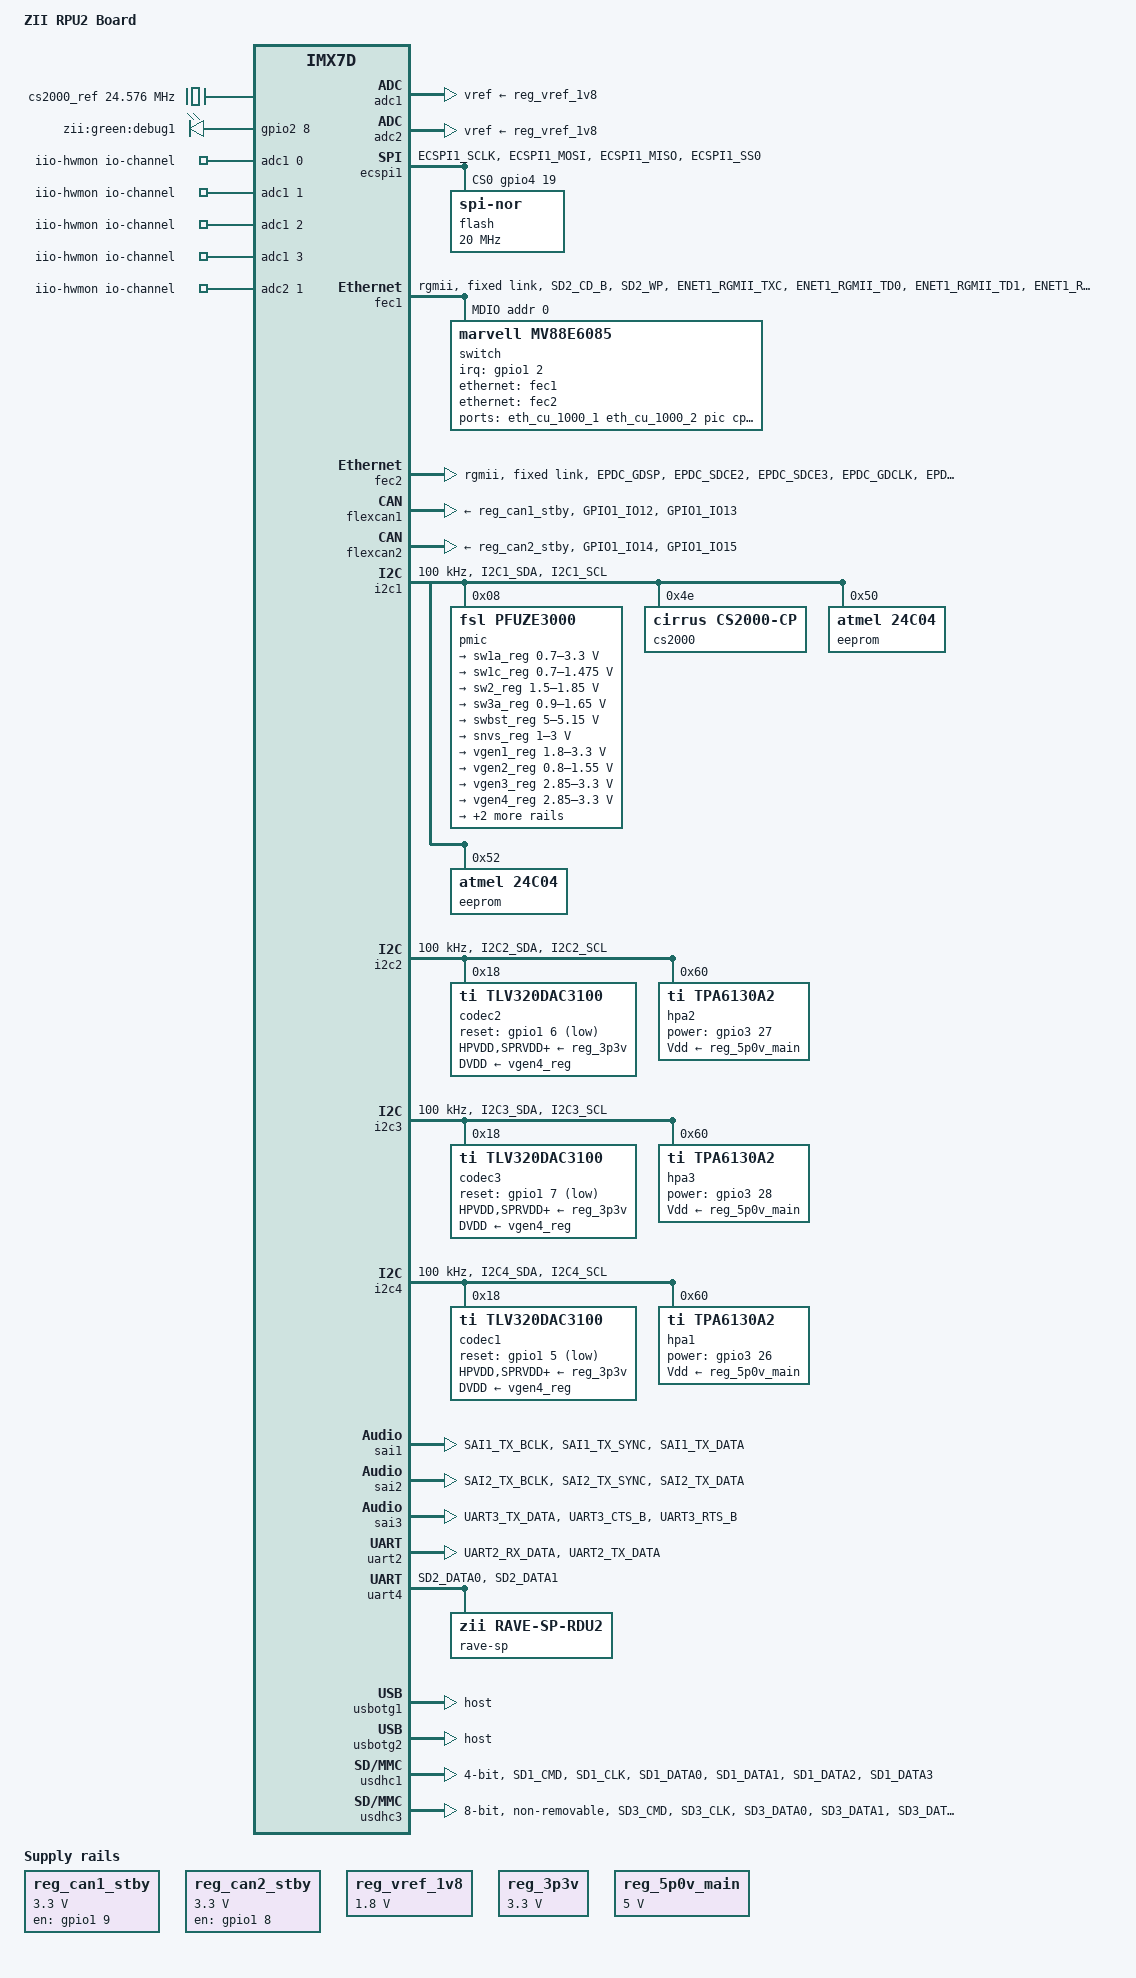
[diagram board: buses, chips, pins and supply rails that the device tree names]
// SPDX-License-Identifier: (GPL-2.0 OR MIT)
/*
 * Device tree file for ZII's RPU2 board
 *
 * RPU - Remote Peripheral Unit
 *
 * Copyright (C) 2019 Zodiac Inflight Innovations
 */

/dts-v1/;
#include <dt-bindings/thermal/thermal.h>
#include "imx7d.dtsi"

/ {
	model = "ZII RPU2 Board";
	compatible = "zii,imx7d-rpu2", "fsl,imx7d";

	chosen {
		stdout-path = &uart1;
	};

	cs2000_ref: oscillator {
		compatible = "fixed-clock";
		#clock-cells = <0>;
		clock-frequency = <24576000>;
	};

	cs2000_in_dummy: dummy-oscillator {
		compatible = "fixed-clock";
		#clock-cells = <0>;
		clock-frequency = <0>;
	};

	gpio-leds {
		compatible = "gpio-leds";
		pinctrl-0 = <&pinctrl_leds_debug>;
		pinctrl-names = "default";

		debug {
			label = "zii:green:debug1";
			gpios = <&gpio2 8 GPIO_ACTIVE_HIGH>;
			linux,default-trigger = "heartbeat";
		};
	};

	iio-hwmon {
		compatible = "iio-hwmon";
		io-channels = <&adc1 0>, <&adc1 1>, <&adc1 2>, <&adc1 3>,
			      <&adc2 1>;
	};

	reg_can1_stby: regulator-can1-stby {
		compatible = "regulator-fixed";
		pinctrl-names = "default";
		pinctrl-0 = <&pinctrl_flexcan1_stby>;
		regulator-name = "can1-3v3";
		regulator-min-microvolt = <3300000>;
		regulator-max-microvolt = <3300000>;
		gpio = <&gpio1 9 GPIO_ACTIVE_HIGH>;
		enable-active-high;
	};

	reg_can2_stby: regulator-can2-stby {
		compatible = "regulator-fixed";
		pinctrl-names = "default";
		pinctrl-0 = <&pinctrl_flexcan2_stby>;
		regulator-name = "can2-3v3";
		regulator-min-microvolt = <3300000>;
		regulator-max-microvolt = <3300000>;
		gpio = <&gpio1 8 GPIO_ACTIVE_HIGH>;
		enable-active-high;
	};

	reg_vref_1v8: regulator-vref-1v8 {
		compatible = "regulator-fixed";
		regulator-name = "vref-1v8";
		regulator-min-microvolt = <1800000>;
		regulator-max-microvolt = <1800000>;
		regulator-always-on;
	};

	reg_3p3v: regulator-3p3v {
		compatible = "regulator-fixed";
		regulator-name = "GEN_3V3";
		regulator-min-microvolt = <3300000>;
		regulator-max-microvolt = <3300000>;
		regulator-always-on;
	};

	reg_5p0v_main: regulator-5p0v-main {
		compatible = "regulator-fixed";
		regulator-name = "5V_MAIN";
		regulator-min-microvolt = <5000000>;
		regulator-max-microvolt = <5000000>;
		regulator-always-on;
	};

	sound1 {
		compatible = "simple-audio-card";
		simple-audio-card,name = "Audio Output 1";
		simple-audio-card,format = "i2s";
		simple-audio-card,bitclock-master = <&sound1_codec>;
		simple-audio-card,frame-master = <&sound1_codec>;
		simple-audio-card,widgets =
			"Headphone", "Headphone Jack";
		simple-audio-card,routing =
			"Headphone Jack", "HPLEFT",
			"Headphone Jack", "HPRIGHT",
			"LEFTIN", "HPL",
			"RIGHTIN", "HPR";
		simple-audio-card,aux-devs = <&hpa1>;

		simple-audio-card,cpu {
			sound-dai = <&sai1>;
		};

		sound1_codec: simple-audio-card,codec {
			sound-dai = <&codec1>;
			clocks = <&cs2000>;
		};
	};

	sound2 {
		compatible = "simple-audio-card";
		simple-audio-card,name = "Audio Output 2";
		simple-audio-card,format = "i2s";
		simple-audio-card,bitclock-master = <&sound2_codec>;
		simple-audio-card,frame-master = <&sound2_codec>;
		simple-audio-card,widgets =
			"Headphone", "Headphone Jack";
		simple-audio-card,routing =
			"Headphone Jack", "HPLEFT",
			"Headphone Jack", "HPRIGHT",
			"LEFTIN", "HPL",
			"RIGHTIN", "HPR";
		simple-audio-card,aux-devs = <&hpa2>;

		simple-audio-card,cpu {
			sound-dai = <&sai2>;
		};

		sound2_codec: simple-audio-card,codec {
			sound-dai = <&codec2>;
			clocks = <&cs2000>;
		};
	};

	sound3 {
		compatible = "simple-audio-card";
		simple-audio-card,name = "Audio Output 3";
		simple-audio-card,format = "i2s";
		simple-audio-card,bitclock-master = <&sound3_codec>;
		simple-audio-card,frame-master = <&sound3_codec>;
		simple-audio-card,widgets =
			"Headphone", "Headphone Jack";
		simple-audio-card,routing =
			"Headphone Jack", "HPLEFT",
			"Headphone Jack", "HPRIGHT",
			"LEFTIN", "HPL",
			"RIGHTIN", "HPR";
		simple-audio-card,aux-devs = <&hpa3>;

		simple-audio-card,cpu {
			sound-dai = <&sai3>;
		};

		sound3_codec: simple-audio-card,codec {
			sound-dai = <&codec3>;
			clocks = <&cs2000>;
		};
	};
};

&adc1 {
	vref-supply = <&reg_vref_1v8>;
	status = "okay";
};

&adc2 {
	vref-supply = <&reg_vref_1v8>;
	status = "okay";
};

&cpu0 {
	arm-supply = <&sw1a_reg>;
};

&clks {
	assigned-clocks = <&clks IMX7D_PLL_AUDIO_POST_DIV>;
	assigned-clock-rates = <884736000>;
};

&ecspi1 {
	pinctrl-names = "default";
	pinctrl-0 = <&pinctrl_ecspi1>;
	cs-gpios = <&gpio4 19 GPIO_ACTIVE_HIGH>;
	status = "okay";

	flash@0 {
		compatible = "jedec,spi-nor";
		spi-max-frequency = <20000000>;
		reg = <0>;
		#address-cells = <1>;
		#size-cells = <1>;
	};
};

&fec1 {
	pinctrl-names = "default";
	pinctrl-0 = <&pinctrl_enet1>;
	assigned-clocks = <&clks IMX7D_ENET1_TIME_ROOT_SRC>,
			  <&clks IMX7D_ENET1_TIME_ROOT_CLK>;
	assigned-clock-parents = <&clks IMX7D_PLL_ENET_MAIN_100M_CLK>;
	assigned-clock-rates = <0>, <100000000>;
	phy-mode = "rgmii";
	status = "okay";

	fixed-link {
		speed = <1000>;
		full-duplex;
	};

	mdio1: mdio {
		#address-cells = <1>;
		#size-cells = <0>;
		status = "okay";

		switch: switch@0 {
			compatible = "marvell,mv88e6085";
			pinctrl-names = "default";
			pinctrl-0 = <&pinctrl_switch>;
			reg = <0>;
			eeprom-length = <512>;
			interrupt-parent = <&gpio1>;
			interrupts = <2 IRQ_TYPE_LEVEL_LOW>;
			interrupt-controller;
			#interrupt-cells = <2>;

			ports {
				#address-cells = <1>;
				#size-cells = <0>;

				port@0 {
					reg = <0>;
					label = "eth_cu_1000_1";
				};

				port@1 {
					reg = <1>;
					label = "eth_cu_1000_2";
				};

				port@2 {
					reg = <2>;
					label = "pic";

					fixed-link {
						speed = <100>;
						full-duplex;
					};
				};

				port@5 {
					reg = <5>;
					label = "cpu";
					ethernet = <&fec1>;
					phy-mode = "rgmii-id";

					fixed-link {
						speed = <1000>;
						full-duplex;
					};
				};

				port@6 {
					reg = <6>;
					label = "gigabit_proc";
					ethernet = <&fec2>;
					phy-mode = "rgmii-id";

					fixed-link {
						speed = <1000>;
						full-duplex;
					};
				};
			};
		};
	};
};

&fec2 {
	pinctrl-names = "default";
	pinctrl-0 = <&pinctrl_enet2>;
	assigned-clocks = <&clks IMX7D_ENET2_TIME_ROOT_SRC>,
			  <&clks IMX7D_ENET2_TIME_ROOT_CLK>;
	assigned-clock-parents = <&clks IMX7D_PLL_ENET_MAIN_100M_CLK>;
	assigned-clock-rates = <0>, <100000000>;
	phy-mode = "rgmii";
	fsl,magic-packet;
	status = "okay";

	fixed-link {
		speed = <1000>;
		full-duplex;
	};
};

&flexcan1 {
	pinctrl-names = "default";
	pinctrl-0 = <&pinctrl_flexcan1>;
	xceiver-supply = <&reg_can1_stby>;
	status = "okay";
};

&flexcan2 {
	pinctrl-names = "default";
	pinctrl-0 = <&pinctrl_flexcan2>;
	xceiver-supply = <&reg_can2_stby>;
	status = "okay";
};

&gpio1 {
	pinctrl-names = "default";
	pinctrl-0 = <&pinctrl_gpio1>;

	gpio-line-names = "", "", "", "", "", "", "", "",
			  "", "",
			  "usb_1_en_b",
			  "usb_2_en_b",
			  "", "", "", "", "", "", "", "",
			  "", "", "", "", "", "", "", "",
			  "", "", "", "";
};

&gpio2 {
	pinctrl-names = "default";
	pinctrl-0 = <&pinctrl_gpio2>;

	gpio-line-names = "12v_out_en_1",
			  "12v_out_en_2",
			  "12v_out_en_3",
			  "28v_out_en_5",
			  "28v_out_en_1",
			  "28v_out_en_2",
			  "28v_out_en_3",
			  "28v_out_en_4",
			  "", "",
			  "usb_3_en_b",
			  "usb_4_en_b",
			  "", "", "", "", "", "", "", "",
			  "", "", "", "", "", "", "", "",
			  "", "", "", "";
};

&i2c1 {
	clock-frequency = <100000>;
	pinctrl-names = "default";
	pinctrl-0 = <&pinctrl_i2c1>;
	status = "okay";

	pmic: pmic@8 {
		compatible = "fsl,pfuze3000";
		reg = <0x08>;

		regulators {
			sw1a_reg: sw1a {
				regulator-min-microvolt = <700000>;
				regulator-max-microvolt = <3300000>;
				regulator-boot-on;
				regulator-always-on;
				regulator-ramp-delay = <6250>;
			};

			sw1c_reg: sw1b {
				regulator-min-microvolt = <700000>;
				regulator-max-microvolt = <1475000>;
				regulator-boot-on;
				regulator-always-on;
				regulator-ramp-delay = <6250>;
			};

			sw2_reg: sw2 {
				regulator-min-microvolt = <1500000>;
				regulator-max-microvolt = <1850000>;
				regulator-boot-on;
				regulator-always-on;
			};

			sw3a_reg: sw3 {
				regulator-min-microvolt = <900000>;
				regulator-max-microvolt = <1650000>;
				regulator-boot-on;
				regulator-always-on;
			};

			swbst_reg: swbst {
				regulator-min-microvolt = <5000000>;
				regulator-max-microvolt = <5150000>;
			};

			snvs_reg: vsnvs {
				regulator-min-microvolt = <1000000>;
				regulator-max-microvolt = <3000000>;
				regulator-boot-on;
				regulator-always-on;
			};

			vref_reg: vrefddr {
				regulator-boot-on;
				regulator-always-on;
			};

			vgen1_reg: vldo1 {
				regulator-min-microvolt = <1800000>;
				regulator-max-microvolt = <3300000>;
				regulator-always-on;
			};

			vgen2_reg: vldo2 {
				regulator-min-microvolt = <800000>;
				regulator-max-microvolt = <1550000>;
				regulator-always-on;
			};

			vgen3_reg: vccsd {
				regulator-min-microvolt = <2850000>;
				regulator-max-microvolt = <3300000>;
				regulator-always-on;
			};

			vgen4_reg: v33 {
				regulator-min-microvolt = <2850000>;
				regulator-max-microvolt = <3300000>;
				regulator-always-on;
			};

			vgen5_reg: vldo3 {
				regulator-min-microvolt = <1800000>;
				regulator-max-microvolt = <3300000>;
				regulator-always-on;
			};

			vgen6_reg: vldo4 {
				regulator-min-microvolt = <1800000>;
				regulator-max-microvolt = <3300000>;
				regulator-always-on;
			};
		};
	};

	cs2000: clkgen@4e {
		compatible = "cirrus,cs2000-cp";
		reg = <0x4e>;
		#clock-cells = <0>;
		clock-names = "clk_in", "ref_clk";
		clocks = <&cs2000_in_dummy>, <&cs2000_ref>;
		assigned-clocks = <&cs2000>;
		assigned-clock-rates = <24000000>;
	};

	eeprom@50 {
		compatible = "atmel,24c04";
		reg = <0x50>;
	};

	eeprom@52 {
		compatible = "atmel,24c04";
		reg = <0x52>;
	};
};

&i2c2 {
	clock-frequency = <100000>;
	pinctrl-names = "default";
	pinctrl-0 = <&pinctrl_i2c2>;
	status = "okay";

	codec2: codec@18 {
		compatible = "ti,tlv320dac3100";
		pinctrl-names = "default";
		pinctrl-0 = <&pinctrl_codec2>;
		reg = <0x18>;
		#sound-dai-cells = <0>;
		HPVDD-supply = <&reg_3p3v>;
		SPRVDD-supply = <&reg_3p3v>;
		SPLVDD-supply = <&reg_3p3v>;
		AVDD-supply = <&reg_3p3v>;
		IOVDD-supply = <&reg_3p3v>;
		DVDD-supply = <&vgen4_reg>;
		gpio-reset = <&gpio1 6 GPIO_ACTIVE_LOW>;
	};

	hpa2: amp@60 {
		compatible = "ti,tpa6130a2";
		pinctrl-names = "default";
		pinctrl-0 = <&pinctrl_tpa2>;
		reg = <0x60>;
		power-gpio = <&gpio3 27 GPIO_ACTIVE_HIGH>;
		Vdd-supply = <&reg_5p0v_main>;
	};
};

&i2c3 {
	clock-frequency = <100000>;
	pinctrl-names = "default";
	pinctrl-0 = <&pinctrl_i2c3>;
	status = "okay";

	codec3: codec@18 {
		compatible = "ti,tlv320dac3100";
		pinctrl-names = "default";
		pinctrl-0 = <&pinctrl_codec3>;
		reg = <0x18>;
		#sound-dai-cells = <0>;
		HPVDD-supply = <&reg_3p3v>;
		SPRVDD-supply = <&reg_3p3v>;
		SPLVDD-supply = <&reg_3p3v>;
		AVDD-supply = <&reg_3p3v>;
		IOVDD-supply = <&reg_3p3v>;
		DVDD-supply = <&vgen4_reg>;
		gpio-reset = <&gpio1 7 GPIO_ACTIVE_LOW>;
	};

	hpa3: amp@60 {
		compatible = "ti,tpa6130a2";
		pinctrl-names = "default";
		pinctrl-0 = <&pinctrl_tpa3>;
		reg = <0x60>;
		power-gpio = <&gpio3 28 GPIO_ACTIVE_HIGH>;
		Vdd-supply = <&reg_5p0v_main>;
	};
};

&i2c4 {
	clock-frequency = <100000>;
	pinctrl-names = "default";
	pinctrl-0 = <&pinctrl_i2c4>;
	status = "okay";

	codec1: codec@18 {
		compatible = "ti,tlv320dac3100";
		pinctrl-names = "default";
		pinctrl-0 = <&pinctrl_codec1>;
		reg = <0x18>;
		#sound-dai-cells = <0>;
		HPVDD-supply = <&reg_3p3v>;
		SPRVDD-supply = <&reg_3p3v>;
		SPLVDD-supply = <&reg_3p3v>;
		AVDD-supply = <&reg_3p3v>;
		IOVDD-supply = <&reg_3p3v>;
		DVDD-supply = <&vgen4_reg>;
		gpio-reset = <&gpio1 5 GPIO_ACTIVE_LOW>;
	};

	hpa1: amp@60 {
		compatible = "ti,tpa6130a2";
		pinctrl-names = "default";
		pinctrl-0 = <&pinctrl_tpa1>;
		reg = <0x60>;
		power-gpio = <&gpio3 26 GPIO_ACTIVE_HIGH>;
		Vdd-supply = <&reg_5p0v_main>;
	};
};

&sai1 {
	pinctrl-names = "default";
	pinctrl-0 = <&pinctrl_sai1>;
	assigned-clocks = <&clks IMX7D_SAI1_ROOT_SRC>,
			  <&clks IMX7D_SAI1_ROOT_CLK>;
	assigned-clock-parents = <&clks IMX7D_PLL_AUDIO_POST_DIV>;
	assigned-clock-rates = <0>, <36864000>;
	status = "okay";
};

&sai2 {
	pinctrl-names = "default";
	pinctrl-0 = <&pinctrl_sai2>;
	assigned-clocks = <&clks IMX7D_SAI2_ROOT_SRC>,
			  <&clks IMX7D_SAI2_ROOT_CLK>;
	assigned-clock-parents = <&clks IMX7D_PLL_AUDIO_POST_DIV>;
	assigned-clock-rates = <0>, <36864000>;
	status = "okay";
};

&sai3 {
	pinctrl-names = "default";
	pinctrl-0 = <&pinctrl_sai3>;
	assigned-clocks = <&clks IMX7D_SAI3_ROOT_SRC>,
			  <&clks IMX7D_SAI3_ROOT_CLK>;
	assigned-clock-parents = <&clks IMX7D_PLL_AUDIO_POST_DIV>;
	assigned-clock-rates = <0>, <36864000>;
	status = "okay";
};

&uart2 {
	pinctrl-names = "default";
	pinctrl-0 = <&pinctrl_uart2>;
	assigned-clocks = <&clks IMX7D_UART2_ROOT_SRC>;
	assigned-clock-parents = <&clks IMX7D_OSC_24M_CLK>;
	status = "okay";
};

&uart4 {
	pinctrl-names = "default";
	pinctrl-0 = <&pinctrl_uart4>;
	assigned-clocks = <&clks IMX7D_UART4_ROOT_SRC>;
	assigned-clock-parents = <&clks IMX7D_PLL_SYS_MAIN_240M_CLK>;
	status = "okay";

	rave-sp {
		compatible = "zii,rave-sp-rdu2";
		current-speed = <1000000>;
		#address-cells = <1>;
		#size-cells = <1>;

		watchdog {
			compatible = "zii,rave-sp-watchdog";
		};

		eeprom@a3 {
			compatible = "zii,rave-sp-eeprom";
			reg = <0xa3 0x4000>;
			#address-cells = <1>;
			#size-cells = <1>;
			zii,eeprom-name = "main-eeprom";
		};
	};
};

&usbotg1 {
	dr_mode = "host";
	disable-over-current;
	status = "okay";
};

&usbotg2 {
	dr_mode = "host";
	disable-over-current;
	status = "okay";
};

&usdhc1 {
	pinctrl-names = "default";
	pinctrl-0 = <&pinctrl_usdhc1>;
	bus-width = <4>;
	no-1-8-v;
	no-sdio;
	keep-power-in-suspend;
	status = "okay";
};

&usdhc3 {
	pinctrl-names = "default";
	pinctrl-0 = <&pinctrl_usdhc3>;
	bus-width = <8>;
	no-1-8-v;
	non-removable;
	no-sdio;
	no-sd;
	keep-power-in-suspend;
	status = "okay";
};

&wdog1 {
	status = "disabled";
};

&snvs_rtc {
	status = "disabled";
};

&snvs_pwrkey {
	status = "disabled";
};

&iomuxc {
	pinctrl_ecspi1: ecspi1grp {
		fsl,pins = <
			MX7D_PAD_ECSPI1_SCLK__ECSPI1_SCLK	0x2
			MX7D_PAD_ECSPI1_MOSI__ECSPI1_MOSI	0x2
			MX7D_PAD_ECSPI1_MISO__ECSPI1_MISO	0x2
			MX7D_PAD_ECSPI1_SS0__GPIO4_IO19         0x59
		>;
	};

	pinctrl_enet1: enet1grp {
		fsl,pins = <
			MX7D_PAD_SD2_CD_B__ENET1_MDIO				0x3
			MX7D_PAD_SD2_WP__ENET1_MDC				0x3
			MX7D_PAD_ENET1_RGMII_TXC__ENET1_RGMII_TXC		0x1
			MX7D_PAD_ENET1_RGMII_TD0__ENET1_RGMII_TD0		0x1
			MX7D_PAD_ENET1_RGMII_TD1__ENET1_RGMII_TD1		0x1
			MX7D_PAD_ENET1_RGMII_TD2__ENET1_RGMII_TD2		0x1
			MX7D_PAD_ENET1_RGMII_TD3__ENET1_RGMII_TD3		0x1
			MX7D_PAD_ENET1_RGMII_TX_CTL__ENET1_RGMII_TX_CTL		0x1
			MX7D_PAD_ENET1_RGMII_RXC__ENET1_RGMII_RXC		0x1
			MX7D_PAD_ENET1_RGMII_RD0__ENET1_RGMII_RD0		0x1
			MX7D_PAD_ENET1_RGMII_RD1__ENET1_RGMII_RD1		0x1
			MX7D_PAD_ENET1_RGMII_RD2__ENET1_RGMII_RD2		0x1
			MX7D_PAD_ENET1_RGMII_RD3__ENET1_RGMII_RD3		0x1
			MX7D_PAD_ENET1_RGMII_RX_CTL__ENET1_RGMII_RX_CTL		0x1
		>;
	};

	pinctrl_enet2: enet2grp {
		fsl,pins = <
			MX7D_PAD_EPDC_GDSP__ENET2_RGMII_TXC			0x1
			MX7D_PAD_EPDC_SDCE2__ENET2_RGMII_TD0			0x1
			MX7D_PAD_EPDC_SDCE3__ENET2_RGMII_TD1			0x1
			MX7D_PAD_EPDC_GDCLK__ENET2_RGMII_TD2			0x1
			MX7D_PAD_EPDC_GDOE__ENET2_RGMII_TD3			0x1
			MX7D_PAD_EPDC_GDRL__ENET2_RGMII_TX_CTL			0x1
			MX7D_PAD_EPDC_SDCE1__ENET2_RGMII_RXC			0x1
			MX7D_PAD_EPDC_SDCLK__ENET2_RGMII_RD0			0x1
			MX7D_PAD_EPDC_SDLE__ENET2_RGMII_RD1			0x1
			MX7D_PAD_EPDC_SDOE__ENET2_RGMII_RD2			0x1
			MX7D_PAD_EPDC_SDSHR__ENET2_RGMII_RD3			0x1
			MX7D_PAD_EPDC_SDCE0__ENET2_RGMII_RX_CTL			0x1
			MX7D_PAD_UART1_TX_DATA__ENET2_1588_EVENT0_OUT		0x1
		>;
	};

	pinctrl_flexcan1: flexcan1grp {
		fsl,pins = <
			MX7D_PAD_GPIO1_IO12__FLEXCAN1_RX	0x59
			MX7D_PAD_GPIO1_IO13__FLEXCAN1_TX	0x59
		>;
	};

	pinctrl_flexcan1_stby: flexcan1stbygrp {
		fsl,pins = <
			MX7D_PAD_GPIO1_IO08__GPIO1_IO8		0x59
		>;
	};

	pinctrl_flexcan2: flexcan2grp {
		fsl,pins = <
			MX7D_PAD_GPIO1_IO14__FLEXCAN2_RX	0x59
			MX7D_PAD_GPIO1_IO15__FLEXCAN2_TX	0x59
		>;
	};

	pinctrl_flexcan2_stby: flexcan2stbygrp {
		fsl,pins = <
			MX7D_PAD_GPIO1_IO09__GPIO1_IO9		0x59
		>;
	};

	pinctrl_gpio1: gpio1grp {
		fsl,pins = <
			MX7D_PAD_GPIO1_IO10__GPIO1_IO10		0x00
			MX7D_PAD_GPIO1_IO11__GPIO1_IO11		0x00
		>;
	};

	pinctrl_gpio2: gpio2grp {
		fsl,pins = <
			MX7D_PAD_EPDC_DATA00__GPIO2_IO0		0x00
			MX7D_PAD_EPDC_DATA01__GPIO2_IO1		0x00
			MX7D_PAD_EPDC_DATA02__GPIO2_IO2		0x00
			MX7D_PAD_EPDC_DATA03__GPIO2_IO3		0x03
			MX7D_PAD_EPDC_DATA04__GPIO2_IO4		0x03
			MX7D_PAD_EPDC_DATA05__GPIO2_IO5		0x03
			MX7D_PAD_EPDC_DATA06__GPIO2_IO6		0x03
			MX7D_PAD_EPDC_DATA07__GPIO2_IO7		0x03
			MX7D_PAD_EPDC_DATA10__GPIO2_IO10	0x00
			MX7D_PAD_EPDC_DATA11__GPIO2_IO11	0x00
		>;
	};

	pinctrl_i2c1: i2c1grp {
		fsl,pins = <
			MX7D_PAD_I2C1_SDA__I2C1_SDA		0x4000007f
			MX7D_PAD_I2C1_SCL__I2C1_SCL		0x4000007f
		>;
	};

	pinctrl_i2c1_gpio: i2c1gpiogrp {
		fsl,pins = <
			MX7D_PAD_I2C1_SDA__GPIO4_IO9		0x4000007f
			MX7D_PAD_I2C1_SCL__GPIO4_IO8		0x4000007f
		>;
	};

	pinctrl_i2c2: i2c2grp {
		fsl,pins = <
			MX7D_PAD_I2C2_SDA__I2C2_SDA		0x4000007f
			MX7D_PAD_I2C2_SCL__I2C2_SCL		0x4000007f
		>;
	};

	pinctrl_i2c2_gpio: i2c2gpiogrp {
		fsl,pins = <
			MX7D_PAD_I2C2_SDA__GPIO4_IO11		0x4000007f
			MX7D_PAD_I2C2_SCL__GPIO4_IO10		0x4000007f
		>;
	};

	pinctrl_i2c3: i2c3grp {
		fsl,pins = <
			MX7D_PAD_I2C3_SDA__I2C3_SDA		0x4000007f
			MX7D_PAD_I2C3_SCL__I2C3_SCL		0x4000007f
		>;
	};

	pinctrl_i2c3_gpio: i2c3gpiogrp {
		fsl,pins = <
			MX7D_PAD_I2C3_SDA__GPIO4_IO13		0x4000007f
			MX7D_PAD_I2C3_SCL__GPIO4_IO12		0x4000007f
		>;
	};

	pinctrl_i2c4: i2c4grp {
		fsl,pins = <
			MX7D_PAD_I2C4_SDA__I2C4_SDA		0x4000007f
			MX7D_PAD_I2C4_SCL__I2C4_SCL		0x4000007f
		>;
	};

	pinctrl_i2c4_gpio: i2c4gpiogrp {
		fsl,pins = <
			MX7D_PAD_SAI1_RX_BCLK__GPIO6_IO17	0x4000007f
			MX7D_PAD_SAI1_RX_SYNC__GPIO6_IO16	0x4000007f
		>;
	};

	pinctrl_leds_debug: debuggrp {
		fsl,pins = <
			MX7D_PAD_EPDC_DATA08__GPIO2_IO8		0x59
		>;
	};

	pinctrl_sai1: sai1grp {
		fsl,pins = <
			MX7D_PAD_SAI1_TX_BCLK__SAI1_TX_BCLK	0x1f
			MX7D_PAD_SAI1_TX_SYNC__SAI1_TX_SYNC	0x1f
			MX7D_PAD_SAI1_TX_DATA__SAI1_TX_DATA0	0x30
		>;
	};

	pinctrl_sai2: sai2grp {
		fsl,pins = <
			MX7D_PAD_SAI2_TX_BCLK__SAI2_TX_BCLK	0x1f
			MX7D_PAD_SAI2_TX_SYNC__SAI2_TX_SYNC	0x1f
			MX7D_PAD_SAI2_TX_DATA__SAI2_TX_DATA0	0x30
		>;
	};

	pinctrl_sai3: sai3grp {
		fsl,pins = <
			MX7D_PAD_UART3_TX_DATA__SAI3_TX_BCLK	0x1f
			MX7D_PAD_UART3_CTS_B__SAI3_TX_SYNC	0x1f
			MX7D_PAD_UART3_RTS_B__SAI3_TX_DATA0	0x30
		>;
	};

	pinctrl_tpa1: tpa6130-1grp {
		fsl,pins = <
			MX7D_PAD_LCD_DATA21__GPIO3_IO26		0x40000038
		>;
	};

	pinctrl_tpa2: tpa6130-2grp {
		fsl,pins = <
			MX7D_PAD_LCD_DATA22__GPIO3_IO27		0x40000038
		>;
	};

	pinctrl_tpa3: tpa6130-3grp {
		fsl,pins = <
			MX7D_PAD_LCD_DATA23__GPIO3_IO28		0x40000038
		>;
	};

	pinctrl_uart2: uart2grp {
		fsl,pins = <
			MX7D_PAD_UART2_RX_DATA__UART2_DCE_RX	0x79
			MX7D_PAD_UART2_TX_DATA__UART2_DCE_TX	0x79
		>;
	};

	pinctrl_uart4: uart4grp {
		fsl,pins = <
			MX7D_PAD_SD2_DATA0__UART4_DCE_RX	0x79
			MX7D_PAD_SD2_DATA1__UART4_DCE_TX	0x79
		>;
	};

	pinctrl_usdhc1: usdhc1grp {
		fsl,pins = <
			MX7D_PAD_SD1_CMD__SD1_CMD		0x59
			MX7D_PAD_SD1_CLK__SD1_CLK		0x19
			MX7D_PAD_SD1_DATA0__SD1_DATA0		0x59
			MX7D_PAD_SD1_DATA1__SD1_DATA1		0x59
			MX7D_PAD_SD1_DATA2__SD1_DATA2		0x59
			MX7D_PAD_SD1_DATA3__SD1_DATA3		0x59
		>;
	};

	pinctrl_usdhc3: usdhc3grp {
		fsl,pins = <
			MX7D_PAD_SD3_CMD__SD3_CMD		0x59
			MX7D_PAD_SD3_CLK__SD3_CLK		0x19
			MX7D_PAD_SD3_DATA0__SD3_DATA0		0x59
			MX7D_PAD_SD3_DATA1__SD3_DATA1		0x59
			MX7D_PAD_SD3_DATA2__SD3_DATA2		0x59
			MX7D_PAD_SD3_DATA3__SD3_DATA3		0x59
			MX7D_PAD_SD3_DATA4__SD3_DATA4		0x59
			MX7D_PAD_SD3_DATA5__SD3_DATA5		0x59
			MX7D_PAD_SD3_DATA6__SD3_DATA6		0x59
			MX7D_PAD_SD3_DATA7__SD3_DATA7		0x59
			MX7D_PAD_SD3_RESET_B__SD3_RESET_B	0x59
		>;
	};
};

&iomuxc_lpsr {
	pinctrl_codec1: dac1grp {
		fsl,pins = <
			MX7D_PAD_LPSR_GPIO1_IO05__GPIO1_IO5	0x40000038
		>;
	};

	pinctrl_codec2: dac2grp {
		fsl,pins = <
			MX7D_PAD_LPSR_GPIO1_IO06__GPIO1_IO6	0x40000038
		>;
	};

	pinctrl_codec3: dac3grp {
		fsl,pins = <
			MX7D_PAD_LPSR_GPIO1_IO07__GPIO1_IO7	0x40000038
		>;
	};

	pinctrl_switch: switchgrp {
		fsl,pins = <
			MX7D_PAD_LPSR_GPIO1_IO02__GPIO1_IO2	0x08
		>;
	};
};
